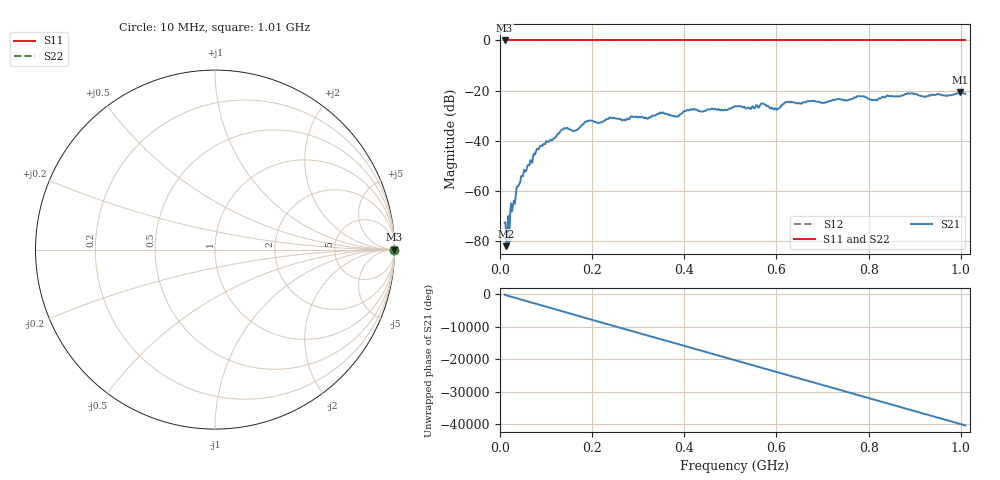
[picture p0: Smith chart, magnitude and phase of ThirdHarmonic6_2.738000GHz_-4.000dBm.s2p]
! 8/17/2025 6:46:26 AM
! C:\ANRITSUVNA\TEMP\TEMP.S2P
! CHANNEL.1
! TR.MEASUREMENT
! RAW.DATA
! RF.CORRECTION.OFF
! AVERAGING.OFF
! IF.BANDWIDTH: 5KHZ
! SWEEPTYPE:  FREQ.SWEEP(Linear)
! Reference Plane Port Info
! PORT:  PORT1  PORT2
! DISTANCE:  0  m  0  m
! TIME:  0  s  0  s
! PHASE.OFFSET:  0  deg.  0  deg.
! LOSS:  0  dB  0  dB
! REF.LOSS:  0  dB  0  dB
! REF.FREQ:  0  Hz  0  Hz
! Power Info
! POWER:  -20  dBm  -20  dBm
! EFF.POWER:  -20  dBm  -20  dBm
! SOURCE.ATTEN:  0  dB  0  dB
! TEST.ATTEN:  0  dB  0  dB
# GHZ S RI R 50.0
! FREQ.GHZ  S11RE  S11IM  S21RE  S21IM  S12RE  S12IM  S22RE  S22IM
!; PortSelection: Port_12
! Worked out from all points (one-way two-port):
!   501 points, 10 MHz to 1.01 GHz, reference 50 ohm
!   highest |S21| = -20.72 dB at 998 MHz (marker M1); lowest = -82.1 dB at 14 MHz (marker M2)
!   lowest |S11| = 0.0 dB at 10 MHz (marker M3)
!   |S11| at or under -10 dB: nowhere
!   |S22| runs from 0.0 to 0.0 dB; largest |S21 - S12| = 1.1
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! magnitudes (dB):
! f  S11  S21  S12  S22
! 10 MHz  0.0  -72.7  0.0  0.0
! 14 MHz  0.0  -82.1  0.0  0.0
! 18 MHz  0.0  -70.0  0.0  0.0
! 26 MHz  0.0  -68.2  0.0  0.0
! 40 MHz  0.0  -57.8  0.0  0.0
! 78 MHz  0.0  -44.3  0.0  0.0
! 136 MHz  0.0  -35.6  0.0  0.0
! 162 MHz  0.0  -36.0  0.0  0.0
! 178 MHz  0.0  -33.7  0.0  0.0
! 192 MHz  0.0  -32.1  0.0  0.0
! 322 MHz  0.0  -30.9  0.0  0.0
! 344 MHz  0.0  -29.3  0.0  0.0
! 384 MHz  0.0  -30.3  0.0  0.0
! 410 MHz  0.0  -27.9  0.0  0.0
! 510 MHz  0.0  -26.3  0.0  0.0
! 570 MHz  0.0  -25.1  0.0  0.0
! 598 MHz  0.0  -27.1  0.0  0.0
! 622 MHz  0.0  -24.5  0.0  0.0
! 678 MHz  0.0  -24.1  0.0  0.0
! 844 MHz  0.0  -22.2  0.0  0.0
! 998 MHz  0.0  -20.7  0.0  0.0
! 1.01 GHz  0.0  -21.3  0.0  0.0
